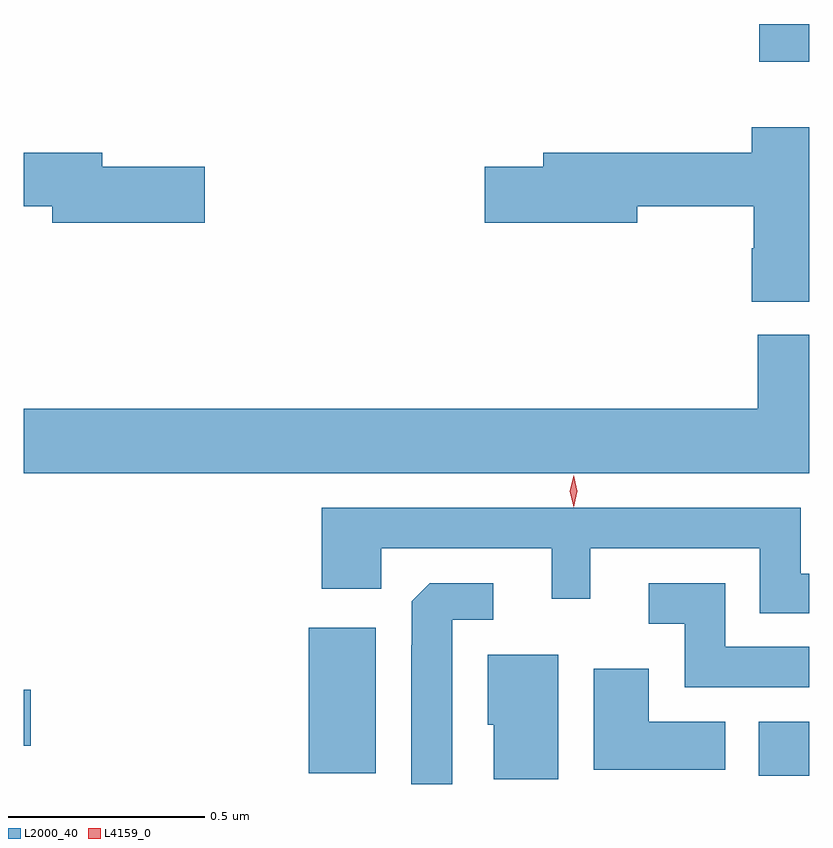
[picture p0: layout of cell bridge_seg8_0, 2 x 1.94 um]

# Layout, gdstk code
import gdstk
lib = gdstk.Library(unit=1e-6, precision=1e-09)
def R(c, l, rs):  # rectangles x0, y0, x1, y1
    for r in rs: c.add(gdstk.rectangle(r[:2], r[2:], *l))
def P(c, l, *ps):  # polygons
    for p in ps: c.add(gdstk.Polygon(p, *l))
L2000_40 = (2000, 40)
L4159_0 = (4159, 0)

bridge_seg8_0 = lib.new_cell('bridge_seg8_0')
R(bridge_seg8_0, L2000_40, [(959.24,1126.385,959.368,1126.522), (958.094,1126.392,958.264,1126.762), (957.368,1126.462,957.385,1126.604), (959.241,1128.204,959.368,1128.3)])
P(bridge_seg8_0, L2000_40, [(959.368,1128.037),(959.222,1128.037),(959.222,1127.972),(958.691,1127.972),(958.691,1127.936),(958.542,1127.936),(958.542,1127.794),(958.93,1127.794),(958.93,1127.836),(959.227,1127.836),(959.227,1127.729),(959.222,1127.729),(959.222,1127.593),(959.368,1127.593)],
  [(957.829,1127.936),(957.568,1127.936),(957.568,1127.972),(957.368,1127.972),(957.368,1127.836),(957.44,1127.836),(957.44,1127.794),(957.829,1127.794)],
  [(959.368,1127.508),(959.237,1127.508),(959.237,1127.32),(957.368,1127.32),(957.368,1127.156),(959.368,1127.156)],
  [(959.368,1126.899),(959.347,1126.899),(959.347,1127.068),(958.127,1127.068),(958.127,1126.862),(958.278,1126.862),(958.278,1126.964),(958.712,1126.964),(958.712,1126.836),(958.81,1126.836),(958.81,1126.964),(959.243,1126.964),(959.243,1126.799),(959.368,1126.799)],
  [(959.368,1126.714),(959.155,1126.714),(959.155,1126.876),(958.959,1126.876),(958.959,1126.772),(959.051,1126.772),(959.051,1126.61),(959.368,1126.61)],
  [(958.459,1126.782),(958.564,1126.782),(958.564,1126.875),(958.402,1126.875),(958.356,1126.829),(958.356,1126.718),(958.355,1126.718),(958.355,1126.364),(958.459,1126.364)],
  [(958.729,1126.693),(958.55,1126.693),(958.55,1126.515),(958.565,1126.515),(958.565,1126.376),(958.729,1126.376)],
  [(959.155,1126.522),(958.96,1126.522),(958.96,1126.657),(958.82,1126.657),(958.82,1126.4),(959.155,1126.4)])
P(bridge_seg8_0, L4159_0, [(958.768,1127.069),(958.768,1127.069),(958.758,1127.11),(958.768,1127.151),(958.768,1127.151),(958.768,1127.151),(958.778,1127.11),(958.768,1127.069)])

lib.write_gds('bridge_seg8_0.gds')
